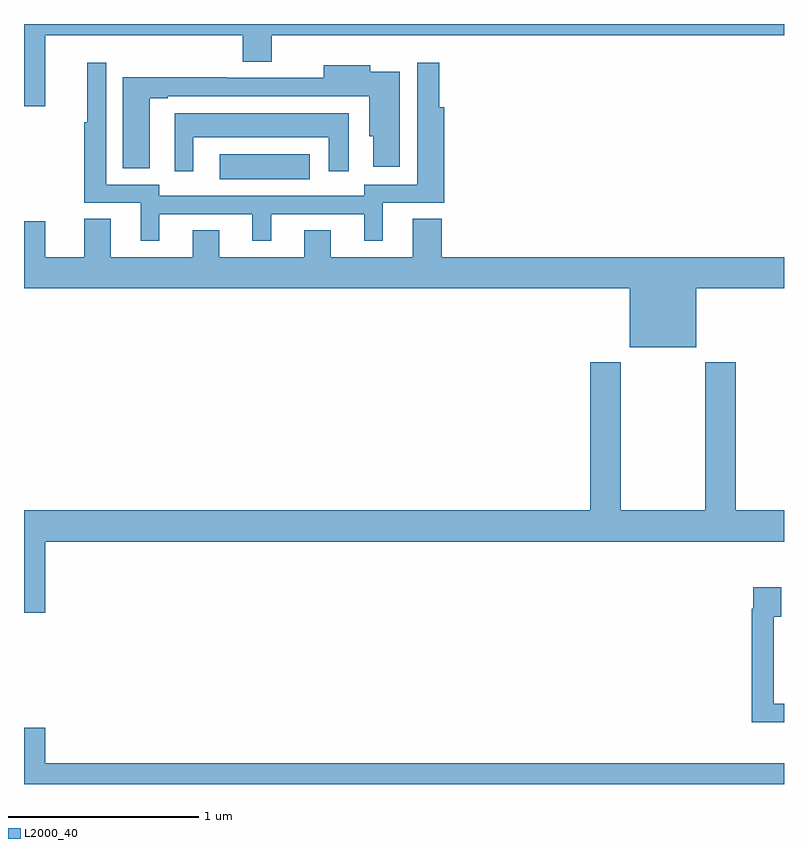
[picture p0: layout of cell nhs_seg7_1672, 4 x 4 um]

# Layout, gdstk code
import gdstk
lib = gdstk.Library(unit=1e-6, precision=1e-09)
def R(c, l, rs):  # rectangles x0, y0, x1, y1
    for r in rs: c.add(gdstk.rectangle(r[:2], r[2:], *l))
def P(c, l, *ps):  # polygons
    for p in ps: c.add(gdstk.Polygon(p, *l))
L2000_40 = (2000, 40)

nhs_seg7_1672 = lib.new_cell('nhs_seg7_1672')
R(nhs_seg7_1672, L2000_40, [(226.029,1009.184,226.504,1009.315)])
P(nhs_seg7_1672, L2000_40, [(225.112,1009.94),(226.151,1009.94),(226.151,1009.801),(226.303,1009.801),(226.303,1009.94),(229,1009.94),(229,1010),(225,1010),(225,1009.566),(225.112,1009.566)],
  [(225.712,1008.999),(226.202,1008.999),(226.202,1008.858),(226.3,1008.858),(226.3,1008.999),(226.79,1008.999),(226.79,1008.858),(226.888,1008.858),(226.888,1009.059),(227.213,1009.059),(227.213,1009.561),(227.186,1009.561),(227.186,1009.795),(227.07,1009.795),(227.07,1009.457),(227.069,1009.457),(227.069,1009.155),(226.791,1009.155),(226.791,1009.095),(225.711,1009.095),(225.711,1009.155),(225.432,1009.155),(225.432,1009.795),(225.334,1009.795),(225.334,1009.482),(225.316,1009.482),(225.316,1009.059),(225.614,1009.059),(225.614,1008.858),(225.712,1008.858)],
  [(225.661,1009.608),(225.757,1009.608),(225.757,1009.62),(226.817,1009.62),(226.817,1009.41),(226.838,1009.41),(226.838,1009.248),(226.978,1009.248),(226.978,1009.75),(226.822,1009.75),(226.822,1009.783),(226.577,1009.783),(226.577,1009.716),(226.067,1009.716),(226.067,1009.719),(225.521,1009.719),(225.521,1009.242),(225.661,1009.242)],
  [(225.892,1009.403),(226.604,1009.403),(226.604,1009.224),(226.708,1009.224),(226.708,1009.531),(225.794,1009.531),(225.794,1009.224),(225.892,1009.224)],
  [(228.538,1008.608),(229,1008.608),(229,1008.772),(227.198,1008.772),(227.198,1008.974),(227.045,1008.974),(227.045,1008.772),(226.615,1008.772),(226.615,1008.914),(226.475,1008.914),(226.475,1008.772),(226.027,1008.772),(226.027,1008.914),(225.887,1008.914),(225.887,1008.772),(225.457,1008.772),(225.457,1008.974),(225.317,1008.974),(225.317,1008.772),(225.112,1008.772),(225.112,1008.961),(225,1008.961),(225,1008.608),(228.188,1008.608),(228.188,1008.299),(228.538,1008.299)],
  [(225.112,1007.276),(229,1007.276),(229,1007.44),(228.746,1007.44),(228.746,1008.22),(228.586,1008.22),(228.586,1007.44),(228.141,1007.44),(228.141,1008.22),(227.981,1008.22),(227.981,1007.44),(225,1007.44),(225,1006.902),(225.112,1006.902)],
  [(229,1006.422),(228.945,1006.422),(228.945,1006.879),(228.985,1006.879),(228.985,1007.035),(228.837,1007.035),(228.837,1006.922),(228.829,1006.922),(228.829,1006.325),(229,1006.325)],
  [(229,1006.108),(225.112,1006.108),(225.112,1006.297),(225,1006.297),(225,1006),(229,1006)])

lib.write_gds('nhs_seg7_1672.gds')
